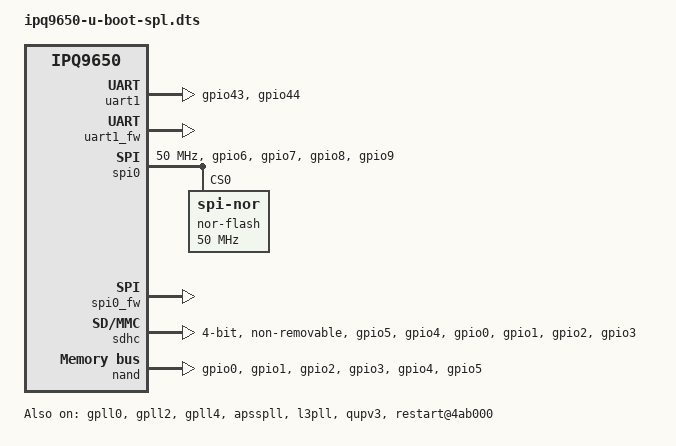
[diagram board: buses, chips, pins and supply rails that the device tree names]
// SPDX-License-Identifier: GPL-2.0-only
/*
 * Copyright (c) Qualcomm Technologies, Inc. and/or its subsidiaries.
 */

/dts-v1/;

#include <dt-bindings/interrupt-controller/arm-gic.h>
#include <asm/arch/dt-bindings/clock/qcom,ipq9650-gcc.h>
#include <asm/arch/dt-bindings/reset/qcom,ipq9650-gcc.h>
#include <dt-bindings/gpio/gpio.h>

/ {
	bootph-all;
	compatible = "qcom,ipq9650";

	#address-cells = <2>;
	#size-cells = <2>;
	interrupt-parent = <&intc>;

	aliases {
		serial0 = &uart1;
	};

	chosen {
		stdout-path = "serial0:115200n8";
	};

	reserved-memory {
		#address-cells = <2>;
		#size-cells = <2>;
		ranges;

		smem_mem: smem_region@8a500000 {
			bootph-all;
			reg = <0x0 0x8a500000 0x0 0x40000>;
			no-map;
		};
	};

	smem {
		bootph-all;
		compatible = "qcom,smem";
		memory-region = <&smem_mem>;
	};

	soc@0 {
		bootph-all;
		compatible = "simple-bus";
		#address-cells = <2>;
		#size-cells = <2>;
		ranges = <0 0 0 0 0x10 0>;

		tlmm: pinctrl@1000000 {
			bootph-all;
			compatible = "qcom,ipq9650-tlmm";
			reg = <0 0x01000000 0 0x300000>;
			gpio-controller;
			#gpio-cells = <2>;
			gpio-ranges = <&tlmm 0 0 53>;
			interrupt-controller;
			#interrupt-cells = <2>;

			uart1_pins: uart1-state {
				bootph-all;
				rx-pins {
					bootph-all;
					pins = "gpio43";
					function = "qup_se6_l3";
					drive-strength = <8>;
					bias-pull-down;
				};

				tx-pins {
					bootph-all;
					pins = "gpio44";
					function = "qup_se6_l2";
					drive-strength = <8>;
					bias-pull-down;
				};
			};

			sdc_default_state: sdc-default-state {
				bootph-all;
				clk-pins {
					bootph-all;
					pins = "gpio5";
					function = "sdc_clk";
					drive-strength = <8>;
					bias-disable;
				};

				cmd-pins {
					bootph-all;
					pins = "gpio4";
					function = "sdc_cmd";
					drive-strength = <8>;
					bias-pull-up;
				};

				data-pins {
					bootph-all;
					pins = "gpio0", "gpio1", "gpio2", "gpio3";
					function = "sdc_data";
					drive-strength = <8>;
					bias-pull-up;
				};
			};

			spi0_pinmux: spi0 {
				bootph-all;
				spi0_sclk {
					bootph-all;
					pins = "gpio6";
					function = "spi0_clk";
					drive-strength = <8>;
					bias-pull-down;
				};

				spi0_cs0 {
					bootph-all;
					pins = "gpio7";
					function = "spi0_cs";
					drive-strength = <8>;
					bias-pull-down;
				};

				spi0_miso {
					bootph-all;
					pins = "gpio8";
					function = "spi0_miso";
					drive-strength = <8>;
					bias-pull-down;
				};

				spi0_mosi {
					bootph-all;
					pins = "gpio9";
					function = "spi0_mosi";
					drive-strength = <8>;
					bias-pull-down;
				};
			};

			qspi_pinmux: nand {
				bootph-all;
				qspi_data {
					bootph-all;
					pins = "gpio0", "gpio1", "gpio2","gpio3";
					function = "qspi_data";
					drive-strength = <8>;
					bias-pull-up;
				};

				qspi_cs_n {
					bootph-all;
					pins = "gpio4";
					function = "qspi_cs";
					drive-strength = <8>;
					bias-pull-up;
				};

				qspi_clk {
					bootph-all;
					pins = "gpio5";
					function = "qspi_clk";
					drive-strength = <8>;
					bias-disable;
				};
			};
		};

		intc: interrupt-controller@f200000 {
			bootph-all;
			compatible = "arm,gic-v3";
			reg = <0x0 0x0f200000 0x0 0x10000>, /* GICD */
			      <0x0 0x0f240000 0x0 0xa0000>; /* GICR * 5 regions */
			#interrupt-cells = <0x3>;
			interrupt-controller;
			#redistributor-regions = <1>;
			redistributor-stride = <0x0 0x20000>;
			interrupts = <GIC_PPI 9 IRQ_TYPE_LEVEL_HIGH>;
		};

		tmel_qmp: tmel-qmp@22090000 {
			bootph-all;
			compatible = "qcom,tmel-qmp-mbox-secure";
			reg = <0x0 0x22090000 0x0 0x20>,
			      <0x0 0x22091000 0x0 0x20>;
			reg-names = "mcore", "ucore";

			interrupts = <GIC_SPI 122 IRQ_TYPE_EDGE_RISING>;
			max_pkt_size = <0x18>;

			#mbox-cells = <0>;
			status = "okay";
		};

		tmelcom: qcom,tmelcom {
			bootph-all;
			compatible = "qcom,tmelcom";
			mboxes = <&tmel_qmp>;
			mbox-names = "tmel-qmp-mbox";
			#clock-cells = <1>;
			#power-domain-cells = <1>;
			#reset-cells = <1>;
			status = "okay";
		};

		gcc: clock-controller@1800000 {
			bootph-all;
			compatible = "qcom,ipq9650-gcc";
			reg = <0 0x01800000 0 0x40000>;
			#clock-cells = <1>;
			#reset-cells = <1>;
			#power-domain-cells = <1>;
		};

		gpll0: pll@1820000 {
			bootph-all;
			compatible = "qcom,ipq9650-clk-pll",
					"qcom,ipq-clk-pll";
			reg = <0 0x01820000 0 0x1000>;
			#clock-cells = <0>;
			clock-output-names = "gpll0";
			status = "okay";
		};

		gpll2: pll@1821000 {
			bootph-all;
			compatible = "qcom,ipq9650-clk-pll",
					"qcom,ipq-clk-pll";
			reg = <0 0x01821000 0 0x1000>;
			#clock-cells = <0>;
			clock-output-names = "gpll2";
			status = "okay";
		};

		gpll4: pll@1822000 {
			bootph-all;
			compatible = "qcom,ipq9650-clk-pll",
					"qcom,ipq-clk-pll";
			reg = <0 0x01822000 0 0x1000>;
			#clock-cells = <0>;
			clock-output-names = "gpll4";
			status = "okay";
		};

		apsspll: pll@fa80000 {
			bootph-all;
			compatible = "qcom,ipq9650-clk-pll",
					"qcom,ipq-clk-pll";
			reg = <0 0x0fa80000 0 0x10000>;
			clock-output-names = "apsspll";
			status = "okay";
		};

		apss_cpu: apss-cpu-clock@fa80000 {
			bootph-all;
			compatible = "qcom,ipq9650-apss";
			reg = <0 0x0fa80000 0 0x10000>;
			#clock-cells = <1>;
		};

		l3pll: pll@faa0000 {
			bootph-all;
			compatible = "qcom,ipq9650-clk-pll",
					"qcom,ipq-clk-pll";
			reg = <0 0x0faa0000 0 0x10000>;
			clock-output-names = "l3pll";
			status = "okay";
		};

		apss_l3: apss-l3-clock@faa0000 {
			bootph-all;
			compatible = "qcom,ipq9650-apss";
			reg = <0 0x0faa0000 0 0x10000>;
			#clock-cells = <1>;
		};

		pll_init: qcom,ipq-init-plls {
			bootph-all;
			compatible = "qcom,ipq-init-plls";
			plls = <&gpll0 &gpll2 &gpll4 &apsspll &l3pll>;
			status = "okay";
		};

		board_init_clks: qcom,ipq-init-clks {
			bootph-all;
			compatible = "qcom,ipq-init-clks";

			clocks = <&gcc GCC_MPM_AHB_CLK>,
				 <&gcc GCC_GEMNOC_ANOC_CLK>,
				 <&gcc GCC_ANOC0_AXI_CLK>,
				 <&gcc GCC_APSS_DBG_CLK>,
				 <&gcc GCC_APSS_TS_CLK>,
				 <&gcc GCC_SNOC_QOSGEN_EXTREF_CLK>,
				 <&gcc GCC_SYS_NOC_AT_CLK>,
				 <&gcc GCC_SNOC_XO_DCD_CLK>,
				 <&gcc GCC_SNOC_TS_CLK>,
				 <&gcc GCC_PCNOC_AT_CLK>,
				 <&gcc GCC_PCNOC_TS_CLK>,
				 <&gcc GCC_CNOC_QOSGEN_EXTREF_CLK>,
				 <&gcc GCC_AGGRNOC_ATB_CLK>,
				 <&gcc GCC_AGGRNOC_TS_CLK>,
				 <&gcc GCC_ANOC1_AXI_CLK>,
				 <&gcc GCC_ANOC_QOSGEN_EXTREF_CLK>,
				 <&gcc GCC_ANOC_XO_DCD_CLK>,
				 <&gcc GCC_PCNOC_CE_EDPD_CLK>,
				 <&gcc GCC_CMN_LDO_CLK>,
				 <&gcc GCC_SPDM_PCNOC_CY_CLK>;


			assigned-clocks = <&apss_cpu APSS_SILVER_CLK>,
					  <&apss_l3 APSS_L3_CLK>,
					  <&gcc GCC_PCNOC_BFDCD_CLK>,
					  <&gcc GCC_SYSTEM_NOC_BFDCD_CLK>,
					  <&gcc GCC_APSS_AXI_CLK>,
					  <&gcc GCC_APSS_AHB_CLK>,
					  <&gcc GCC_QDSS_TSCTR_CLK>,
					  <&gcc GCC_QDSS_AT_CLK>,
					  <&gcc GCC_ANOC0_AXI_BFDCD_CLK>,
					  <&gcc GCC_XO_CLK>;

			assigned-clock-rates = <1368000000>,
					       <1176000000>,
					       <100000000>,
					       <266666666>,
					       <800000000>,
					       <100000000>,
					       <600000000>,
					       <240000000>,
					       <342000000>,
					       <24000000>;

			clock-names = "pcnoc_bfdcd",
					"sysnoc_bfdcd",
					"apss_axi",
					"apss_ahb",
					"qdss_tsctr",
					"qdss_at",
					"anoc_axi_bfdcd",
					"xo";

			status = "okay";
		};

		qupv3: geniqup@1ac0000 {
			bootph-all;
			compatible = "qcom,geni-se-qup";
			reg = <0 0x01ac0000 0 0x2000>;
			ranges;
			clocks = <&gcc GCC_QUPV3_2X_CORE_CLK>,
				 <&gcc GCC_QUPV3_AHB_MST_CLK>,
				 <&gcc GCC_QUPV3_AHB_SLV_CLK>,
				 <&gcc GCC_QUPV3_CORE_CLK>,
				 <&gcc GCC_QUPV3_SLEEP_CLK>;
			clock-names = "2x-core", "m-ahb", "s-ahb",
					"core", "sleep";

			assigned-clocks = <&gcc GCC_QUPV3_2X_CORE_CLK>;
			assigned-clock-rates = <200000000>;
			#address-cells = <2>;
			#size-cells = <2>;

			status = "okay";

			uart1: serial@1a98000 {
				bootph-all;
				compatible = "qcom,geni-debug-uart";
				reg = <0 0x1a98000 0 0x4000>;
				clocks = <&gcc GCC_QUPV3_UART2_CLK>;
				clock-names = "se";
				pinctrl-0 = <&uart1_pins>;
				pinctrl-names = "default";
				qup-se-fw-load = <&uart1_fw>;
				status = "okay";
			};

			uart1_fw: uart_firmware@0 {
				bootph-all;
				compatible = "qcom,ipq9650-geni-uart-fw-v1",
					     "qcom,geni-uart-fw-v1";
				reg = <0 0x01a98000 0 0x4000>;
				status = "okay";
			};

			spi0: spi@1a80000 {
				bootph-all;
				compatible = "qcom-ipq9650-geni-spi","qcom-ipq5424-geni-spi";
				reg = <0 0x1a80000 0 0x4000>;
				reg-names = "se_phys";
				clocks = <&gcc GCC_QUPV3_SPI0_CLK>;
				clock-names = "se-spi-clk";
				clock-frequency = <50000000>;
				nor-blk-enable;
				status = "okay";
				#address-cells = <1>;
				#size-cells = <0>;
				qup-se-fw-load = <&spi0_fw>;
				tx-fifo-depth=<32>;

				pinctrl-0 = <&spi0_pinmux>;
				pinctrl-names = "default";

				nor-flash@0 {
					bootph-all;
					compatible = "jedec,spi-nor";
					reg = <0>;
					spi-max-frequency = <50000000>;
				};
			};

			spi0_fw: spi_firmware@0 {
				bootph-all;
				compatible = "qcom,ipq9650-geni-spi-fw-v1", "qcom,geni-spi-fw-v1";
				reg = <0 0x1a80000 0 0x4000>;
				reg-names = "se_phys";
				status = "okay";
			};
		};

		sdhc: mmc@7804000 {
			bootph-all;
			compatible = "qcom,ipq9650-sdhci", "qcom,sdhci-msm-v5";
			reg = <0 0x07804000 0 0x1000>, <0 0x07805000 0 0x1000>;
			reg-names = "hc", "cqhci";

			clocks = <&gcc GCC_SDCC1_AHB_CLK>,
				 <&gcc GCC_SDCC1_APPS_CLK>;
			clock-names = "iface", "core";

			bus-width = <4>;
			max-frequency = <192000000>;
			mmc-ddr-1_8v;
			non-removable;
			pinctrl-0 = <&sdc_default_state>;
			pinctrl-names = "default";
			sdhci-caps-mask = <0x0 0x04000000>;
			sdhci-caps = <0x0 0x04000000>;
			resets = <&gcc GCC_SDCC_BCR>;
			reset-names = "bcr_rst";
			status = "okay";
		};

		nand: nand-controller@79b0000 {
			bootph-all;
			compatible = "qti,spi-nand-v2.1.3";
			#address-cells = <2>;
			#size-cells = <2>;
			reg = <0x0 0x79B0000 0x0 0x10000>;
			assigned-clocks = <&gcc GCC_QPIC_CLK>,
					 <&gcc GCC_QPIC_IO_MACRO_CLK>;
			assigned-clock-rates = <100000000>, <200000000>;
			max_clk_feaquency = <400000000>;
			clock-names = "qpic-clk",
				      "qpic-io-macro-clk",
				      "qpic-ahb-clk";
			clocks = <&gcc GCC_QPIC_CLK>,
				<&gcc GCC_QPIC_IO_MACRO_CLK>,
				<&gcc GCC_QPIC_AHB_CLK>;
			resets = <&gcc GCC_QPIC_BCR>;
			reset-names = "bcr_rst";

			bam_reg = <0x07984000>;
			status_pipe = <3>;
			status_pipe_grp = <0>;
			read_pipe = <1>;
			read_pipe_grp = <0>;
			write_pipe = <0>;
			write_pipe_grp = <0>;
			cmd_pipe = <2>;
			cmd_pipe_grp = <1>;
			pinctrl-0 = <&qspi_pinmux>;
			pinctrl-names = "default";
			status = "okay";
		};

		restart@4ab000 {
			bootph-all;
			compatible = "qcom,pshold";
			reg = <0x0 0x4AB000 0x0 0x4>;
			status = "okay";
		};
	};
};
